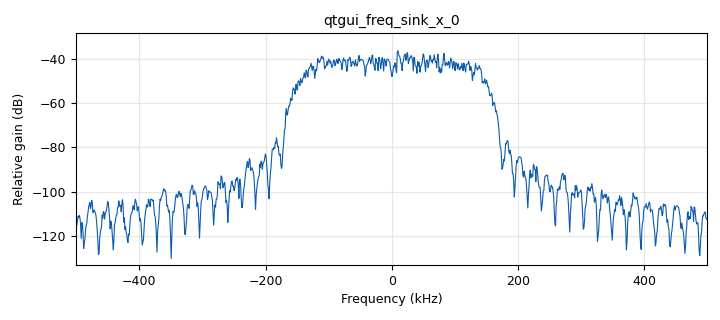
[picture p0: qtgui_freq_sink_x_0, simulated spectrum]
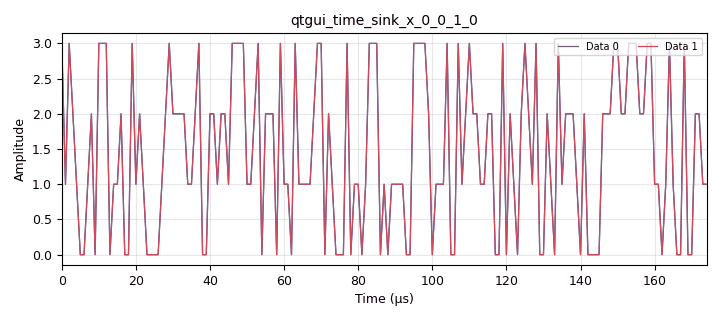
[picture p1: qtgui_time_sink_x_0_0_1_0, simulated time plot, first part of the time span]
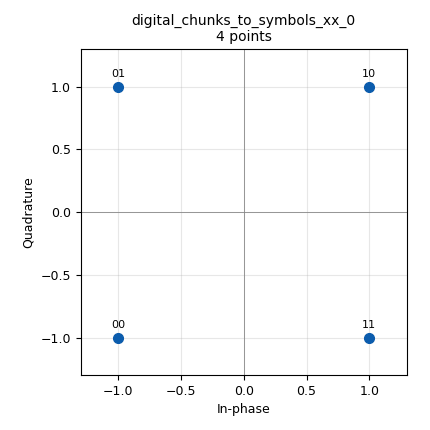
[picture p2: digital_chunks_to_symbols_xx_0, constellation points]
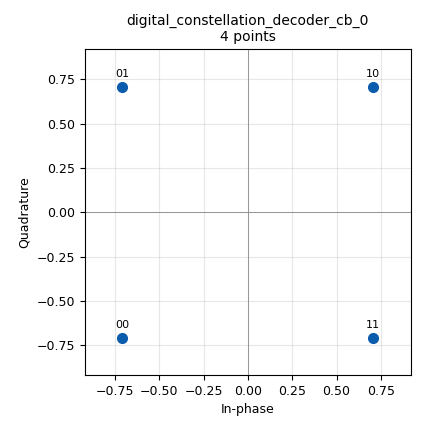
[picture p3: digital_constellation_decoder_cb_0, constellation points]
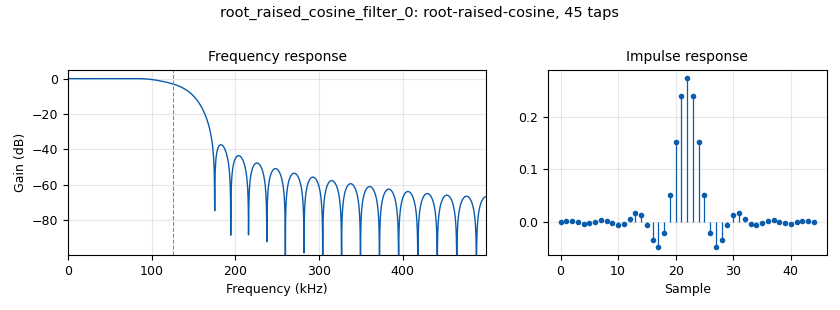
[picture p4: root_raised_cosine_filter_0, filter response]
<?xml version='1.0' encoding='utf-8'?>
<?grc format='1' created='3.7.10'?>
<flow_graph>
<block>
<key>options</key>
<param><key>id</key><value>top_block</value></param>
<param><key>category</key><value>Custom</value></param>
<param><key>generate_options</key><value>qt_gui</value></param>
</block>
<block>
<key>variable</key>
<param><key>id</key><value>rolloff</value></param>
<param><key>value</key><value>.35</value></param>
</block>
<block>
<key>variable</key>
<param><key>id</key><value>samp_rate</value></param>
<param><key>value</key><value>1e6</value></param>
</block>
<block>
<key>variable</key>
<param><key>id</key><value>sps</value></param>
<param><key>value</key><value>4</value></param>
</block>
<block>
<key>variable_constellation</key>
<param><key>id</key><value>variable_constellation_0</value></param>
<param><key>const_points</key><value>[-1-1j, -1+1j, 1+1j, 1-1j]</value></param>
<param><key>dims</key><value>1</value></param>
<param><key>rot_sym</key><value>4</value></param>
<param><key>precision</key><value>8</value></param>
<param><key>sym_map</key><value>[0, 1, 3, 2]</value></param>
</block>
<block>
<key>analog_random_source_x</key>
<param><key>id</key><value>analog_random_source_x_0</value></param>
<param><key>max</key><value>4</value></param>
<param><key>min</key><value>0</value></param>
<param><key>num_samps</key><value>10000</value></param>
<param><key>type</key><value>byte</value></param>
<param><key>repeat</key><value>True</value></param>
</block>
<block>
<key>blks2_error_rate</key>
<param><key>id</key><value>blks2_error_rate_0</value></param>
<param><key>bits_per_symbol</key><value>1</value></param>
<param><key>type</key><value>'BER'</value></param>
<param><key>win_size</key><value>1000000</value></param>
</block>
<block>
<key>blocks_char_to_float</key>
<param><key>id</key><value>blocks_char_to_float_0</value></param>
<param><key>scale</key><value>1</value></param>
</block>
<block>
<key>blocks_char_to_float</key>
<param><key>id</key><value>blocks_char_to_float_0_0</value></param>
<param><key>scale</key><value>1</value></param>
</block>
<block>
<key>blocks_delay</key>
<param><key>id</key><value>blocks_delay_0</value></param>
<param><key>delay</key><value>11</value></param>
<param><key>type</key><value>byte</value></param>
</block>
<block>
<key>blocks_unpack_k_bits_bb</key>
<param><key>id</key><value>blocks_unpack_k_bits_bb_0</value></param>
<param><key>_enabled</key><value>0</value></param>
<param><key>k</key><value>2</value></param>
</block>
<block>
<key>digital_chunks_to_symbols_xx</key>
<param><key>id</key><value>digital_chunks_to_symbols_xx_0</value></param>
<param><key>dimension</key><value>1</value></param>
<param><key>in_type</key><value>byte</value></param>
<param><key>out_type</key><value>complex</value></param>
<param><key>symbol_table</key><value>[-1-1j, -1+1j, 1+1j, 1-1j]</value></param>
</block>
<block>
<key>digital_constellation_decoder_cb</key>
<param><key>id</key><value>digital_constellation_decoder_cb_0</value></param>
<param><key>constellation</key><value>variable_constellation_0</value></param>
</block>
<block>
<key>import</key>
<param><key>id</key><value>import_0</value></param>
<param><key>import</key><value>import math</value></param>
</block>
<block>
<key>qtgui_freq_sink_x</key>
<param><key>id</key><value>qtgui_freq_sink_x_0</value></param>
<param><key>autoscale</key><value>True</value></param>
<param><key>average</key><value>0.2</value></param>
<param><key>bw</key><value>samp_rate</value></param>
<param><key>fc</key><value>0</value></param>
<param><key>fftsize</key><value>1024</value></param>
<param><key>grid</key><value>True</value></param>
<param><key>showports</key><value>True</value></param>
<param><key>type</key><value>complex</value></param>
<param><key>wintype</key><value>firdes.WIN_BLACKMAN_hARRIS</value></param>
</block>
<block>
<key>qtgui_number_sink</key>
<param><key>id</key><value>qtgui_number_sink_0</value></param>
<param><key>autoscale</key><value>True</value></param>
<param><key>graph_type</key><value>qtgui.NUM_GRAPH_HORIZ</value></param>
<param><key>type</key><value>float</value></param>
<param><key>label1</key><value>SER</value></param>
<param><key>max</key><value>1e-5</value></param>
<param><key>min</key><value>0</value></param>
</block>
<block>
<key>qtgui_time_sink_x</key>
<param><key>id</key><value>qtgui_time_sink_x_0</value></param>
<param><key>autoscale</key><value>True</value></param>
<param><key>_enabled</key><value>0</value></param>
<param><key>grid</key><value>True</value></param>
<param><key>color1</key><value>"blue"</value></param>
<param><key>label1</key><value>output</value></param>
<param><key>size</key><value>200</value></param>
<param><key>srate</key><value>samp_rate</value></param>
<param><key>type</key><value>float</value></param>
<param><key>update_time</key><value>100</value></param>
</block>
<block>
<key>qtgui_time_sink_x</key>
<param><key>id</key><value>qtgui_time_sink_x_0_0_1_0</value></param>
<param><key>autoscale</key><value>True</value></param>
<param><key>grid</key><value>True</value></param>
<param><key>color1</key><value>"blue"</value></param>
<param><key>label1</key><value></value></param>
<param><key>color2</key><value>"red"</value></param>
<param><key>label2</key><value></value></param>
<param><key>nconnections</key><value>2</value></param>
<param><key>size</key><value>300</value></param>
<param><key>srate</key><value>samp_rate</value></param>
<param><key>type</key><value>float</value></param>
<param><key>update_time</key><value>.10</value></param>
</block>
<block>
<key>qtgui_time_sink_x</key>
<param><key>id</key><value>qtgui_time_sink_x_0_0_1_0_0</value></param>
<param><key>autoscale</key><value>True</value></param>
<param><key>_enabled</key><value>0</value></param>
<param><key>grid</key><value>True</value></param>
<param><key>color1</key><value>"blue"</value></param>
<param><key>label1</key><value>input</value></param>
<param><key>size</key><value>300</value></param>
<param><key>srate</key><value>samp_rate</value></param>
<param><key>type</key><value>float</value></param>
<param><key>update_time</key><value>100</value></param>
</block>
<block>
<key>root_raised_cosine_filter</key>
<param><key>id</key><value>root_raised_cosine_filter_0</value></param>
<param><key>alpha</key><value>rolloff</value></param>
<param><key>type</key><value>interp_fir_filter_ccf</value></param>
<param><key>gain</key><value>1</value></param>
<param><key>interp</key><value>sps</value></param>
<param><key>ntaps</key><value>11*sps</value></param>
<param><key>samp_rate</key><value>samp_rate</value></param>
<param><key>sym_rate</key><value>samp_rate/sps</value></param>
</block>
<block>
<key>root_raised_cosine_filter</key>
<param><key>id</key><value>root_raised_cosine_filter_0_0</value></param>
<param><key>alpha</key><value>rolloff</value></param>
<param><key>decim</key><value>sps</value></param>
<param><key>type</key><value>fir_filter_ccf</value></param>
<param><key>gain</key><value>1</value></param>
<param><key>ntaps</key><value>11*sps</value></param>
<param><key>samp_rate</key><value>samp_rate</value></param>
<param><key>sym_rate</key><value>samp_rate/sps</value></param>
</block>
<connection><source_block_id>analog_random_source_x_0</source_block_id><sink_block_id>blocks_delay_0</sink_block_id><source_key>0</source_key><sink_key>0</sink_key></connection>
<connection><source_block_id>analog_random_source_x_0</source_block_id><sink_block_id>blocks_unpack_k_bits_bb_0</sink_block_id><source_key>0</source_key><sink_key>0</sink_key></connection>
<connection><source_block_id>analog_random_source_x_0</source_block_id><sink_block_id>digital_chunks_to_symbols_xx_0</sink_block_id><source_key>0</source_key><sink_key>0</sink_key></connection>
<connection><source_block_id>blks2_error_rate_0</source_block_id><sink_block_id>qtgui_number_sink_0</sink_block_id><source_key>0</source_key><sink_key>0</sink_key></connection>
<connection><source_block_id>blocks_char_to_float_0</source_block_id><sink_block_id>qtgui_time_sink_x_0_0_1_0</sink_block_id><source_key>0</source_key><sink_key>0</sink_key></connection>
<connection><source_block_id>blocks_char_to_float_0</source_block_id><sink_block_id>qtgui_time_sink_x_0_0_1_0_0</sink_block_id><source_key>0</source_key><sink_key>0</sink_key></connection>
<connection><source_block_id>blocks_char_to_float_0_0</source_block_id><sink_block_id>qtgui_time_sink_x_0</sink_block_id><source_key>0</source_key><sink_key>0</sink_key></connection>
<connection><source_block_id>blocks_char_to_float_0_0</source_block_id><sink_block_id>qtgui_time_sink_x_0_0_1_0</sink_block_id><source_key>0</source_key><sink_key>1</sink_key></connection>
<connection><source_block_id>blocks_delay_0</source_block_id><sink_block_id>blks2_error_rate_0</sink_block_id><source_key>0</source_key><sink_key>0</sink_key></connection>
<connection><source_block_id>blocks_delay_0</source_block_id><sink_block_id>blocks_char_to_float_0</sink_block_id><source_key>0</source_key><sink_key>0</sink_key></connection>
<connection><source_block_id>blocks_unpack_k_bits_bb_0</source_block_id><sink_block_id>blocks_delay_0</sink_block_id><source_key>0</source_key><sink_key>0</sink_key></connection>
<connection><source_block_id>digital_chunks_to_symbols_xx_0</source_block_id><sink_block_id>root_raised_cosine_filter_0</sink_block_id><source_key>0</source_key><sink_key>0</sink_key></connection>
<connection><source_block_id>digital_constellation_decoder_cb_0</source_block_id><sink_block_id>blks2_error_rate_0</sink_block_id><source_key>0</source_key><sink_key>1</sink_key></connection>
<connection><source_block_id>digital_constellation_decoder_cb_0</source_block_id><sink_block_id>blocks_char_to_float_0_0</sink_block_id><source_key>0</source_key><sink_key>0</sink_key></connection>
<connection><source_block_id>root_raised_cosine_filter_0</source_block_id><sink_block_id>qtgui_freq_sink_x_0</sink_block_id><source_key>0</source_key><sink_key>0</sink_key></connection>
<connection><source_block_id>root_raised_cosine_filter_0</source_block_id><sink_block_id>root_raised_cosine_filter_0_0</sink_block_id><source_key>0</source_key><sink_key>0</sink_key></connection>
<connection><source_block_id>root_raised_cosine_filter_0_0</source_block_id><sink_block_id>digital_constellation_decoder_cb_0</sink_block_id><source_key>0</source_key><sink_key>0</sink_key></connection>
</flow_graph>
